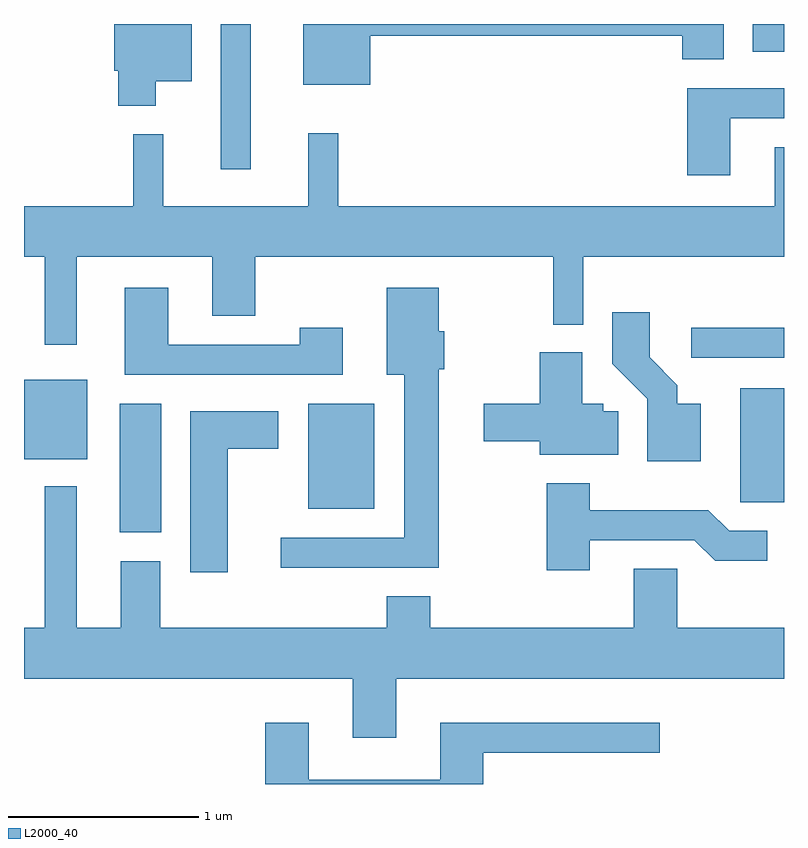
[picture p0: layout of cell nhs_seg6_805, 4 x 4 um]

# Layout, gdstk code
import gdstk
lib = gdstk.Library(unit=1e-6, precision=1e-09)
def R(c, l, rs):  # rectangles x0, y0, x1, y1
    for r in rs: c.add(gdstk.rectangle(r[:2], r[2:], *l))
def P(c, l, *ps):  # polygons
    for p in ps: c.add(gdstk.Polygon(p, *l))
L2000_40 = (2000, 40)

nhs_seg6_805 = lib.new_cell('nhs_seg6_805')
R(nhs_seg6_805, L2000_40, [(210.116,1537.486,210.334,1538.164), (211.106,1537.611,211.454,1538.164), (213.381,1537.646,213.611,1538.244), (209.611,1537.871,209.944,1538.289), (213.123,1538.406,213.611,1538.564), (210.646,1539.398,210.804,1540.162), (213.446,1540.016,213.611,1540.162)])
P(nhs_seg6_805, L2000_40, [(210.304,1539.861),(210.494,1539.861),(210.494,1540.162),(210.086,1540.162),(210.086,1539.916),(210.106,1539.916),(210.106,1539.731),(210.304,1539.731)],
  [(211.434,1540.101),(213.076,1540.101),(213.076,1539.976),(213.294,1539.976),(213.294,1540.162),(211.081,1540.162),(211.081,1539.841),(211.434,1539.841)],
  [(213.329,1539.666),(213.611,1539.666),(213.611,1539.824),(213.101,1539.824),(213.101,1539.366),(213.329,1539.366)],
  [(209.889,1538.936),(210.601,1538.936),(210.601,1538.626),(210.829,1538.626),(210.829,1538.936),(212.396,1538.936),(212.396,1538.578),(212.554,1538.578),(212.554,1538.936),(213.611,1538.936),(213.611,1539.514),(213.561,1539.514),(213.561,1539.204),(211.264,1539.204),(211.264,1539.588),(211.106,1539.588),(211.106,1539.204),(210.344,1539.204),(210.344,1539.583),(210.186,1539.583),(210.186,1539.204),(209.611,1539.204),(209.611,1538.936),(209.721,1538.936),(209.721,1538.473),(209.889,1538.473)],
  [(211.794,1538.346),(211.824,1538.346),(211.824,1538.544),(211.794,1538.544),(211.794,1538.774),(211.521,1538.774),(211.521,1538.316),(211.611,1538.316),(211.611,1537.459),(210.963,1537.459),(210.963,1537.301),(211.794,1537.301)],
  [(211.289,1538.564),(211.061,1538.564),(211.061,1538.474),(210.369,1538.474),(210.369,1538.774),(210.141,1538.774),(210.141,1538.316),(211.289,1538.316)],
  [(213.174,1538.164),(213.049,1538.164),(213.049,1538.262),(212.904,1538.407),(212.904,1538.644),(212.706,1538.644),(212.706,1538.374),(212.891,1538.189),(212.891,1537.861),(213.174,1537.861)],
  [(212.739,1538.124),(212.659,1538.124),(212.659,1538.164),(212.549,1538.164),(212.549,1538.434),(212.326,1538.434),(212.326,1538.164),(212.031,1538.164),(212.031,1537.966),(212.326,1537.966),(212.326,1537.896),(212.739,1537.896)],
  [(210.684,1537.926),(210.949,1537.926),(210.949,1538.124),(210.486,1538.124),(210.486,1537.276),(210.684,1537.276)],
  [(212.589,1537.446),(213.139,1537.446),(213.249,1537.336),(213.523,1537.336),(213.523,1537.494),(213.322,1537.494),(213.212,1537.604),(212.589,1537.604),(212.589,1537.744),(212.361,1537.744),(212.361,1537.286),(212.589,1537.286)],
  [(211.569,1536.716),(213.611,1536.716),(213.611,1536.984),(213.049,1536.984),(213.049,1537.294),(212.821,1537.294),(212.821,1536.984),(211.749,1536.984),(211.749,1537.149),(211.521,1537.149),(211.521,1536.984),(210.329,1536.984),(210.329,1537.334),(210.121,1537.334),(210.121,1536.984),(209.889,1536.984),(209.889,1537.728),(209.721,1537.728),(209.721,1536.984),(209.611,1536.984),(209.611,1536.716),(211.341,1536.716),(211.341,1536.406),(211.569,1536.406)],
  [(212.029,1536.326),(212.958,1536.326),(212.958,1536.484),(211.801,1536.484),(211.801,1536.184),(211.109,1536.184),(211.109,1536.484),(210.881,1536.484),(210.881,1536.162),(212.029,1536.162)])

lib.write_gds('nhs_seg6_805.gds')
